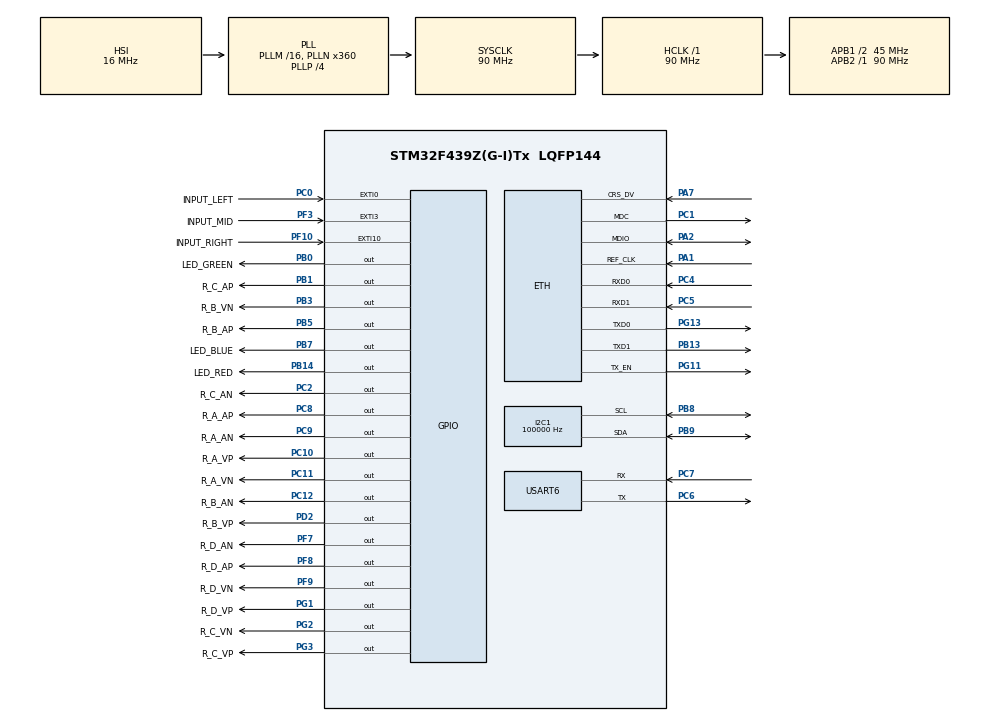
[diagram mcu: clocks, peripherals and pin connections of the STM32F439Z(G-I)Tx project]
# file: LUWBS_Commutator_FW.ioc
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ETH.MediaInterface=HAL_ETH_RMII_MODE
ETH.RxMode=ETH_RXINTERRUPT_MODE
FREERTOS.HEAP_NUMBER=4
FREERTOS.Tasks01=defaultTask,24,2048,StartDefaultTask,Default,NULL,Static,defaultTaskBuffer,defaultTaskControlBlock
FREERTOS.configGENERATE_RUN_TIME_STATS=1
FREERTOS.configMINIMAL_STACK_SIZE=1024
FREERTOS.configTOTAL_HEAP_SIZE=32768
FREERTOS.configUSE_IDLE_HOOK=1
FREERTOS.configUSE_NEWLIB_REENTRANT=0
FREERTOS.configUSE_STATS_FORMATTING_FUNCTIONS=1
I2C1.ClockSpeed=100000
LWIP.BSP.number=1
LWIP.DEFAULT_THREAD_STACKSIZE=4096
LWIP.IP_ADDRESS=192.168.137.025
LWIP.LWIP_DHCP=0
LWIP.LWIP_STATS=1
LWIP.LWIP_TCP_KEEPALIVE=1
LWIP.MEMP_NUM_PBUF=128
LWIP.MEMP_NUM_RAW_PCB=5
LWIP.MEMP_NUM_TCP_PCB=3
LWIP.MEMP_NUM_UDP_PCB=2
LWIP.MEM_SIZE=16384
LWIP.NETMASK_ADDRESS=255.255.255.000
LWIP.SLIPIF_THREAD_STACKSIZE=2048
LWIP.TCPIP_THREAD_STACKSIZE=4096
LWIP.Version=v2.1.2_Cube
LWIP0.BSP.STBoard=false
LWIP0.BSP.api=BSP_COMPONENT_DRIVER
LWIP0.BSP.component=LAN8742
LWIP0.BSP.instance=LAN8742
LWIP0.BSP.name=Driver_PHY
LWIP0.BSP.semaphore=S_LAN8742
LWIP0.BSP.solution=LAN8742
Mcu.Family=STM32F4
Mcu.Name=STM32F439Z(G-I)Tx
Mcu.Package=LQFP144
NVIC.ETH_IRQn=true\:5\:0\:false\:false\:true\:true\:false\:true\:true
NVIC.EXTI0_IRQn=true\:6\:0\:true\:false\:true\:true\:true\:true\:true
NVIC.EXTI15_10_IRQn=true\:6\:0\:true\:false\:true\:true\:true\:true\:true
NVIC.EXTI3_IRQn=true\:6\:0\:true\:false\:true\:true\:true\:true\:true
NVIC.PriorityGroup=NVIC_PRIORITYGROUP_4
NVIC.TIM1_UP_TIM10_IRQn=true\:15\:0\:false\:false\:true\:false\:false\:true\:true
NVIC.TimeBase=TIM1_UP_TIM10_IRQn
NVIC.TimeBaseIP=TIM1
PA1.Mode=RMII
PA1.Signal=ETH_REF_CLK
PA13.Mode=Serial_Wire
PA13.Signal=SYS_JTMS-SWDIO
PA14.Mode=Serial_Wire
PA14.Signal=SYS_JTCK-SWCLK
PA2.Mode=RMII
PA2.Signal=ETH_MDIO
PA7.Mode=RMII
PA7.Signal=ETH_CRS_DV
PB0.GPIO_Label=LED_GREEN
PB0.GPIO_PuPd=GPIO_PULLDOWN
PB0.GPIO_Speed=GPIO_SPEED_FREQ_VERY_HIGH
PB0.Signal=GPIO_Output
PB1.GPIO_Label=R_C_AP
PB1.GPIO_ModeDefaultOutputPP=GPIO_MODE_OUTPUT_PP
PB1.GPIO_PuPd=GPIO_PULLDOWN
PB1.GPIO_Speed=GPIO_SPEED_FREQ_VERY_HIGH
PB1.Signal=GPIO_Output
PB13.Mode=RMII
PB13.Signal=ETH_TXD1
PB14.GPIO_Label=LED_RED
PB14.GPIO_PuPd=GPIO_PULLDOWN
PB14.GPIO_Speed=GPIO_SPEED_FREQ_VERY_HIGH
PB14.Signal=GPIO_Output
PB3.GPIO_Label=R_B_VN
PB3.GPIO_PuPd=GPIO_PULLDOWN
PB3.GPIO_Speed=GPIO_SPEED_FREQ_VERY_HIGH
PB3.Signal=GPIO_Output
PB5.GPIO_Label=R_B_AP
PB5.GPIO_PuPd=GPIO_PULLDOWN
PB5.GPIO_Speed=GPIO_SPEED_FREQ_VERY_HIGH
PB5.Signal=GPIO_Output
PB7.GPIO_Label=LED_BLUE
PB7.GPIO_PuPd=GPIO_PULLDOWN
PB7.GPIO_Speed=GPIO_SPEED_FREQ_VERY_HIGH
PB7.Signal=GPIO_Output
PB8.GPIO_Pu=GPIO_PULLUP
PB8.Mode=I2C
PB8.Signal=I2C1_SCL
PB9.GPIO_Pu=GPIO_PULLUP
PB9.Mode=I2C
PB9.Signal=I2C1_SDA
PC0.GPIO_Label=INPUT_LEFT
PC0.GPIO_ModeDefaultEXTI=GPIO_MODE_IT_RISING_FALLING
PC0.GPIO_PuPd=GPIO_PULLUP
PC0.Signal=GPXTI0
PC1.Mode=RMII
PC1.Signal=ETH_MDC
PC10.GPIO_Label=R_A_VP
PC10.GPIO_PuPd=GPIO_PULLDOWN
PC10.GPIO_Speed=GPIO_SPEED_FREQ_VERY_HIGH
PC10.Signal=GPIO_Output
PC11.GPIO_Label=R_A_VN
PC11.GPIO_PuPd=GPIO_PULLDOWN
PC11.GPIO_Speed=GPIO_SPEED_FREQ_VERY_HIGH
PC11.Signal=GPIO_Output
PC12.GPIO_Label=R_B_AN
PC12.GPIO_PuPd=GPIO_PULLDOWN
PC12.GPIO_Speed=GPIO_SPEED_FREQ_VERY_HIGH
PC12.Signal=GPIO_Output
PC2.GPIO_Label=R_C_AN
PC2.GPIO_PuPd=GPIO_PULLDOWN
PC2.GPIO_Speed=GPIO_SPEED_FREQ_VERY_HIGH
PC2.Signal=GPIO_Output
PC4.Mode=RMII
PC4.Signal=ETH_RXD0
PC5.Mode=RMII
PC5.Signal=ETH_RXD1
PC6.Mode=Asynchronous
PC6.Signal=USART6_TX
PC7.Mode=Asynchronous
PC7.Signal=USART6_RX
PC8.GPIO_Label=R_A_AP
PC8.GPIO_PuPd=GPIO_PULLDOWN
PC8.GPIO_Speed=GPIO_SPEED_FREQ_VERY_HIGH
PC8.Signal=GPIO_Output
PC9.GPIO_Label=R_A_AN
PC9.GPIO_PuPd=GPIO_PULLDOWN
PC9.GPIO_Speed=GPIO_SPEED_FREQ_VERY_HIGH
PC9.Signal=GPIO_Output
PD2.GPIO_Label=R_B_VP
PD2.GPIO_PuPd=GPIO_PULLDOWN
PD2.GPIO_Speed=GPIO_SPEED_FREQ_VERY_HIGH
PD2.Signal=GPIO_Output
PF10.GPIO_Label=INPUT_RIGHT
PF10.GPIO_ModeDefaultEXTI=GPIO_MODE_IT_RISING_FALLING
PF10.GPIO_PuPd=GPIO_PULLUP
PF10.Signal=GPXTI10
PF3.GPIO_Label=INPUT_MID
PF3.GPIO_ModeDefaultEXTI=GPIO_MODE_IT_RISING_FALLING
PF3.GPIO_PuPd=GPIO_PULLUP
PF3.Signal=GPXTI3
PF7.GPIO_Label=R_D_AN
PF7.GPIO_PuPd=GPIO_PULLDOWN
PF7.GPIO_Speed=GPIO_SPEED_FREQ_VERY_HIGH
PF7.Signal=GPIO_Output
PF8.GPIO_Label=R_D_AP
PF8.GPIO_PuPd=GPIO_PULLDOWN
PF8.GPIO_Speed=GPIO_SPEED_FREQ_VERY_HIGH
PF8.Signal=GPIO_Output
PF9.GPIO_Label=R_D_VN
PF9.GPIO_PuPd=GPIO_PULLDOWN
PF9.GPIO_Speed=GPIO_SPEED_FREQ_VERY_HIGH
PF9.Signal=GPIO_Output
PG1.GPIO_Label=R_D_VP
PG1.GPIO_PuPd=GPIO_PULLDOWN
PG1.GPIO_Speed=GPIO_SPEED_FREQ_VERY_HIGH
PG1.Signal=GPIO_Output
PG11.Mode=RMII
PG11.Signal=ETH_TX_EN
PG13.Mode=RMII
PG13.Signal=ETH_TXD0
PG2.GPIO_Label=R_C_VN
PG2.GPIO_PuPd=GPIO_PULLDOWN
PG2.GPIO_Speed=GPIO_SPEED_FREQ_VERY_HIGH
PG2.Signal=GPIO_Output
PG3.GPIO_Label=R_C_VP
PG3.GPIO_PuPd=GPIO_PULLDOWN
PG3.GPIO_Speed=GPIO_SPEED_FREQ_VERY_HIGH
PG3.Signal=GPIO_Output
ProjectManager.HeapSize=0x2000
ProjectManager.StackSize=0x4000
ProjectManager.TargetToolchain=MDK-ARM V5.32
RCC.48MHZClocksFreq_Value=90000000
RCC.AHBFreq_Value=90000000
RCC.APB1CLKDivider=RCC_HCLK_DIV2
RCC.APB1Freq_Value=45000000
RCC.APB1TimFreq_Value=90000000
RCC.APB2Freq_Value=90000000
RCC.APB2TimFreq_Value=90000000
RCC.CortexFreq_Value=90000000
RCC.HCLKFreq_Value=90000000
RCC.HSE_VALUE=25000000
RCC.HSI_VALUE=16000000
RCC.LSE_VALUE=32768
RCC.PLLN=360
RCC.PLLP=RCC_PLLP_DIV4
RCC.SYSCLKFreq_VALUE=90000000
RCC.SYSCLKSource=RCC_SYSCLKSOURCE_PLLCLK
RCC.VCOOutputFreq_Value=360000000
USART6.VirtualMode=VM_ASYNC
VP_FREERTOS_VS_CMSIS_V2.Mode=CMSIS_V2
VP_LWIP_VS_Enabled.Mode=Enabled
VP_SYS_VS_tim1.Mode=TIM1
board=custom

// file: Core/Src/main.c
/* USER CODE BEGIN Header */
/**
  ******************************************************************************
  * @file           : main.c
  * @brief          : Main program body
  ******************************************************************************
  * @attention
  *
  * Copyright (c) 2026 STMicroelectronics.
  * All rights reserved.
  *
  * This software is licensed under terms that can be found in the LICENSE file
  * in the root directory of this software component.
  * If no LICENSE file comes with this software, it is provided AS-IS.
  *
  ******************************************************************************
  */
/* USER CODE END Header */
#include "main.h"
#include "cmsis_os.h"
#include "i2c.h"
#include "lwip.h"
#include "usart.h"
#include "gpio.h"

/* USER CODE BEGIN PD */
#ifdef __GNUC__
#define PUTCHAR_PROTOTYPE int __io_putchar(int ch)
#else
#define PUTCHAR_PROTOTYPE int fputc(int ch, FILE *f)
#endif
/* USER CODE END PD */

/* USER CODE BEGIN PV */
const uint32_t IP_ADDR[4] = { 192, 168,   1,  26 };
const uint32_t NETMASK[4] = { 255, 255, 255,   0 };
const uint32_t GATEWAY[4] = {   0,   0,   0,   0 };
/* USER CODE END PV */

void SystemClock_Config(void);
void MX_FREERTOS_Init(void);

/* USER CODE BEGIN 0 */
#if defined(ENABLE_DEBUG) && ENABLE_DEBUG == DEBUG_USART

PUTCHAR_PROTOTYPE
{
	if (ch == '\n')
	{
		uint8_t r = '\r';
		HAL_UART_Transmit(&huart6, (uint8_t*)&r, 1, 0xFFFF);
	}
  HAL_UART_Transmit(&huart6, (uint8_t*)&ch, 1, 0xFFFF);
}

#elif defined(ENABLE_DEBUG) && ENABLE_DEBUG == DEBUG_SERVER

// TODO

#else  // ENABLE_DEBUG

// stub
PUTCHAR_PROTOTYPE
{

}

#endif // ENABLE_DEBUG
/* USER CODE END 0 */

int main(void)
{

  /* MCU Configuration--------------------------------------------------------*/

  /* Reset of all peripherals, Initializes the Flash interface and the Systick. */
  HAL_Init();

  /* Configure the system clock */
  SystemClock_Config();

  /* Initialize all configured peripherals */
  MX_GPIO_Init();
  MX_I2C1_Init();
  MX_USART6_UART_Init();
  /* USER CODE BEGIN 2 */
  DBG_PRINTF("USART initialized");
  /* USER CODE END 2 */

  /* Init scheduler */
  osKernelInitialize();

  /* Call init function for freertos objects (in freertos.c) */
  MX_FREERTOS_Init();

  /* Start scheduler */
  osKernelStart();

  /* We should never get here as control is now taken by the scheduler */
  /* Infinite loop */
  while (1)
  {

  }
}

void SystemClock_Config(void)
{
  RCC_OscInitTypeDef RCC_OscInitStruct = {0};
  RCC_ClkInitTypeDef RCC_ClkInitStruct = {0};

  /** Configure the main internal regulator output voltage
  */
  __HAL_RCC_PWR_CLK_ENABLE();
  __HAL_PWR_VOLTAGESCALING_CONFIG(PWR_REGULATOR_VOLTAGE_SCALE3);

  /** Initializes the RCC Oscillators according to the specified parameters
  * in the RCC_OscInitTypeDef structure.
  */
  RCC_OscInitStruct.OscillatorType = RCC_OSCILLATORTYPE_HSI;
  RCC_OscInitStruct.HSIState = RCC_HSI_ON;
  RCC_OscInitStruct.HSICalibrationValue = RCC_HSICALIBRATION_DEFAULT;
  RCC_OscInitStruct.PLL.PLLState = RCC_PLL_ON;
  RCC_OscInitStruct.PLL.PLLSource = RCC_PLLSOURCE_HSI;
  RCC_OscInitStruct.PLL.PLLM = 16;
  RCC_OscInitStruct.PLL.PLLN = 360;
  RCC_OscInitStruct.PLL.PLLP = RCC_PLLP_DIV4;
  RCC_OscInitStruct.PLL.PLLQ = 4;
  if (HAL_RCC_OscConfig(&RCC_OscInitStruct) != HAL_OK)
  {
    Error_Handler();
  }

  /** Activate the Over-Drive mode
  */
  if (HAL_PWREx_EnableOverDrive() != HAL_OK)
  {
    Error_Handler();
  }

  /** Initializes the CPU, AHB and APB buses clocks
  */
  RCC_ClkInitStruct.ClockType = RCC_CLOCKTYPE_HCLK|RCC_CLOCKTYPE_SYSCLK
                              |RCC_CLOCKTYPE_PCLK1|RCC_CLOCKTYPE_PCLK2;
  RCC_ClkInitStruct.SYSCLKSource = RCC_SYSCLKSOURCE_PLLCLK;
  RCC_ClkInitStruct.AHBCLKDivider = RCC_SYSCLK_DIV1;
  RCC_ClkInitStruct.APB1CLKDivider = RCC_HCLK_DIV2;
  RCC_ClkInitStruct.APB2CLKDivider = RCC_HCLK_DIV1;

  if (HAL_RCC_ClockConfig(&RCC_ClkInitStruct, FLASH_LATENCY_2) != HAL_OK)
  {
    Error_Handler();
  }
}

void HAL_TIM_PeriodElapsedCallback(TIM_HandleTypeDef *htim)
{
  if (htim->Instance == TIM1) {
    HAL_IncTick();
  }
}

void Error_Handler(void)
{
  __disable_irq();
  while (1)
  {
  }
}

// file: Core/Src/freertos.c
/* USER CODE BEGIN Header */
/**
  ******************************************************************************
  * File Name          : freertos.c
  * Description        : Code for freertos applications
  ******************************************************************************
  * @attention
  *
  * Copyright (c) 2026 STMicroelectronics.
  * All rights reserved.
  *
  * This software is licensed under terms that can be found in the LICENSE file
  * in the root directory of this software component.
  * If no LICENSE file comes with this software, it is provided AS-IS.
  *
  ******************************************************************************
  */
/* USER CODE END Header */

#include "FreeRTOS.h"
#include "task.h"
#include "main.h"
#include "cmsis_os.h"

/* USER CODE BEGIN Includes */
#include "lcd_buttons.h"
#include "wwdg.h"
/* USER CODE END Includes */

typedef StaticTask_t osStaticThreadDef_t;

/* Definitions for defaultTask */
osThreadId_t defaultTaskHandle;
uint32_t defaultTaskBuffer[ 2048 ];
osStaticThreadDef_t defaultTaskControlBlock;
const osThreadAttr_t defaultTask_attributes = {
  .name = "defaultTask",
  .cb_mem = &defaultTaskControlBlock,
  .cb_size = sizeof(defaultTaskControlBlock),
  .stack_mem = &defaultTaskBuffer[0],
  .stack_size = sizeof(defaultTaskBuffer),
  .priority = (osPriority_t)(osPriorityIdle + 1),
};

void StartDefaultTask(void *argument);

extern void MX_LWIP_Init(void);
void MX_FREERTOS_Init(void); /* (MISRA C 2004 rule 8.1) */

/* Hook prototypes */
void configureTimerForRunTimeStats(void);
unsigned long getRunTimeCounterValue(void);
void vApplicationIdleHook(void);

/* USER CODE BEGIN 1 */
/* Functions needed when configGENERATE_RUN_TIME_STATS is on */
__weak void configureTimerForRunTimeStats(void)
{

}

__weak unsigned long getRunTimeCounterValue(void)
{
return 0;
}
/* USER CODE END 1 */

/* USER CODE BEGIN 2 */
void vApplicationIdleHook( void )
{
   /* vApplicationIdleHook() will only be called if configUSE_IDLE_HOOK is set
   to 1 in FreeRTOSConfig.h. It will be called on each iteration of the idle
   task. It is essential that code added to this hook function never attempts
   to block in any way (for example, call xQueueReceive() with a block time
   specified, or call vTaskDelay()). If the application makes use of the
   vTaskDelete() API function (as this demo application does) then it is also
   important that vApplicationIdleHook() is permitted to return to its calling
   function, because it is the responsibility of the idle task to clean up
   memory allocated by the kernel to any task that has since been deleted. */
  // TODO: enable watchdog
  //WDT_Feed();
}
/* USER CODE END 2 */

void MX_FREERTOS_Init(void) {
  /* USER CODE BEGIN Init */
  DBG_PRINTF("FreeRTOS initialization started");
  /* USER CODE END Init */

  /* Create the thread(s) */
  /* creation of defaultTask */
  defaultTaskHandle = osThreadNew(StartDefaultTask, NULL, &defaultTask_attributes);

  /* USER CODE BEGIN RTOS_THREADS */
  DBG_PRINTF("Created default task, handle: %X", defaultTaskHandle);
  /* USER CODE END RTOS_THREADS */

}

void StartDefaultTask(void *argument)
{
  /* init code for LWIP */
  MX_LWIP_Init();
  /* USER CODE BEGIN StartDefaultTask */
  DBG_PRINTF("Default task started");
  ButtonTASK_Init();
  /* Infinite loop */
  for(;;)
  {
    osDelay(1);
  }
  /* USER CODE END StartDefaultTask */
}
